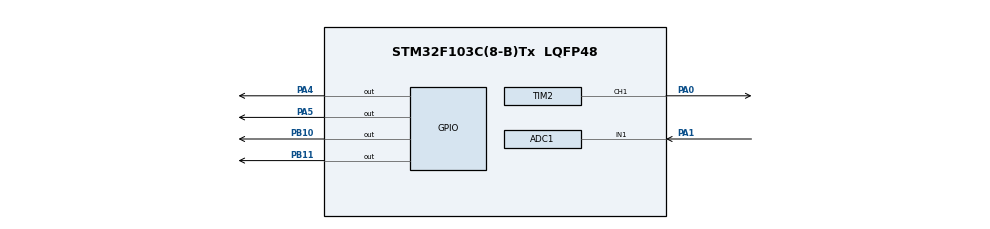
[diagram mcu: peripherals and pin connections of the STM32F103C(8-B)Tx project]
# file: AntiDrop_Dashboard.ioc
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ADC1.Channel-0\#ChannelRegularConversion=ADC_CHANNEL_1
ADC1.ContinuousConvMode=ENABLE
ADC1.NbrOfConversionFlag=1
ADC1.Rank-0\#ChannelRegularConversion=1
ADC1.SamplingTime-0\#ChannelRegularConversion=ADC_SAMPLETIME_1CYCLE_5
ADC1.master=1
Mcu.Family=STM32F1
Mcu.Name=STM32F103C(8-B)Tx
Mcu.Package=LQFP48
NVIC.PriorityGroup=NVIC_PRIORITYGROUP_4
PA0-WKUP.Signal=S_TIM2_CH1_ETR
PA1.Signal=ADCx_IN1
PA13.Mode=Serial_Wire
PA13.Signal=SYS_JTMS-SWDIO
PA14.Mode=Serial_Wire
PA14.Signal=SYS_JTCK-SWCLK
PA4.Signal=GPIO_Output
PA5.Signal=GPIO_Output
PB10.GPIO_ModeDefaultOutputPP=GPIO_MODE_OUTPUT_OD
PB10.GPIO_PuPd=GPIO_PULLUP
PB10.GPIO_Speed=GPIO_SPEED_FREQ_HIGH
PB10.Signal=GPIO_Output
PB11.GPIO_ModeDefaultOutputPP=GPIO_MODE_OUTPUT_OD
PB11.GPIO_PuPd=GPIO_PULLUP
PB11.GPIO_Speed=GPIO_SPEED_FREQ_HIGH
PB11.Signal=GPIO_Output
ProjectManager.HeapSize=0x200
ProjectManager.StackSize=0x400
ProjectManager.TargetToolchain=MDK-ARM V5.32
RCC.APB1Freq_Value=8000000
RCC.APB2Freq_Value=8000000
SH.ADCx_IN1.0=ADC1_IN1,IN1
SH.S_TIM2_CH1_ETR.0=TIM2_CH1,PWM Generation1 CH1
TIM2.AutoReloadPreload=TIM_AUTORELOAD_PRELOAD_ENABLE
TIM2.Channel-PWM\ Generation1\ CH1=TIM_CHANNEL_1
TIM2.Period=99
TIM2.Prescaler=71
board=custom

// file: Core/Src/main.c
/* USER CODE BEGIN Header */
/**
  ******************************************************************************
  * @file           : main.c
  * @brief          : Main program body
  ******************************************************************************
  * @attention
  *
  * Copyright (c) 2026 STMicroelectronics.
  * All rights reserved.
  *
  * This software is licensed under terms that can be found in the LICENSE file
  * in the root directory of this software component.
  * If no LICENSE file comes with this software, it is provided AS-IS.
  *
  ******************************************************************************
  */
/* USER CODE END Header */
#include "main.h"

/* USER CODE BEGIN Includes */

#include "motor.h"

/* USER CODE END Includes */

ADC_HandleTypeDef hadc1;

TIM_HandleTypeDef htim2;

void SystemClock_Config(void);
static void MX_GPIO_Init(void);
static void MX_ADC1_Init(void);
static void MX_TIM2_Init(void);

int main(void)
{

  /* MCU Configuration--------------------------------------------------------*/

  /* Reset of all peripherals, Initializes the Flash interface and the Systick. */
  HAL_Init();

  /* Configure the system clock */
  SystemClock_Config();

  /* Initialize all configured peripherals */
  MX_GPIO_Init();
  MX_ADC1_Init();
  MX_TIM2_Init();
  /* USER CODE BEGIN 2 */

  Motor_Init();//初始化电�?

  /* USER CODE END 2 */

  /* Infinite loop */
  /* USER CODE BEGIN WHILE */

  uint32_t last_tick = 0;
  uint8_t state = 0;

  while (1)
  {
    //�?2000ms读一次ADC
    if(HAL_GetTick() - last_tick >= 2000)
    {
      last_tick = HAL_GetTick();
      state++;
      if(state > 3)
      {
        state = 0;
      }
      switch(state)
      {
        case 0://正转
          Motor_SetSpeed(0);
          break;
        case 1://停止
          Motor_SetSpeed(500);
          break;
        case 2://反转
          Motor_SetSpeed(-500);
          break;
        case 3://停止
          Motor_SetSpeed(0);
          break;
      }

    }

    /* USER CODE END WHILE */

  }
}

void SystemClock_Config(void)
{
  RCC_OscInitTypeDef RCC_OscInitStruct = {0};
  RCC_ClkInitTypeDef RCC_ClkInitStruct = {0};
  RCC_PeriphCLKInitTypeDef PeriphClkInit = {0};

  /** Initializes the RCC Oscillators according to the specified parameters
  * in the RCC_OscInitTypeDef structure.
  */
  RCC_OscInitStruct.OscillatorType = RCC_OSCILLATORTYPE_HSI;
  RCC_OscInitStruct.HSIState = RCC_HSI_ON;
  RCC_OscInitStruct.HSICalibrationValue = RCC_HSICALIBRATION_DEFAULT;
  RCC_OscInitStruct.PLL.PLLState = RCC_PLL_NONE;
  if (HAL_RCC_OscConfig(&RCC_OscInitStruct) != HAL_OK)
  {
    Error_Handler();
  }

  /** Initializes the CPU, AHB and APB buses clocks
  */
  RCC_ClkInitStruct.ClockType = RCC_CLOCKTYPE_HCLK|RCC_CLOCKTYPE_SYSCLK
                              |RCC_CLOCKTYPE_PCLK1|RCC_CLOCKTYPE_PCLK2;
  RCC_ClkInitStruct.SYSCLKSource = RCC_SYSCLKSOURCE_HSI;
  RCC_ClkInitStruct.AHBCLKDivider = RCC_SYSCLK_DIV1;
  RCC_ClkInitStruct.APB1CLKDivider = RCC_HCLK_DIV1;
  RCC_ClkInitStruct.APB2CLKDivider = RCC_HCLK_DIV1;

  if (HAL_RCC_ClockConfig(&RCC_ClkInitStruct, FLASH_LATENCY_0) != HAL_OK)
  {
    Error_Handler();
  }
  PeriphClkInit.PeriphClockSelection = RCC_PERIPHCLK_ADC;
  PeriphClkInit.AdcClockSelection = RCC_ADCPCLK2_DIV2;
  if (HAL_RCCEx_PeriphCLKConfig(&PeriphClkInit) != HAL_OK)
  {
    Error_Handler();
  }
}

static void MX_ADC1_Init(void)
{

  ADC_ChannelConfTypeDef sConfig = {0};

  /** Common config
  */
  hadc1.Instance = ADC1;
  hadc1.Init.ScanConvMode = ADC_SCAN_DISABLE;
  hadc1.Init.ContinuousConvMode = ENABLE;
  hadc1.Init.DiscontinuousConvMode = DISABLE;
  hadc1.Init.ExternalTrigConv = ADC_SOFTWARE_START;
  hadc1.Init.DataAlign = ADC_DATAALIGN_RIGHT;
  hadc1.Init.NbrOfConversion = 1;
  if (HAL_ADC_Init(&hadc1) != HAL_OK)
  {
    Error_Handler();
  }

  /** Configure Regular Channel
  */
  sConfig.Channel = ADC_CHANNEL_1;
  sConfig.Rank = ADC_REGULAR_RANK_1;
  sConfig.SamplingTime = ADC_SAMPLETIME_1CYCLE_5;
  if (HAL_ADC_ConfigChannel(&hadc1, &sConfig) != HAL_OK)
  {
    Error_Handler();
  }

}

static void MX_TIM2_Init(void)
{

  TIM_MasterConfigTypeDef sMasterConfig = {0};
  TIM_OC_InitTypeDef sConfigOC = {0};

  htim2.Instance = TIM2;
  htim2.Init.Prescaler = 71;
  htim2.Init.CounterMode = TIM_COUNTERMODE_UP;
  htim2.Init.Period = 99;
  htim2.Init.ClockDivision = TIM_CLOCKDIVISION_DIV1;
  htim2.Init.AutoReloadPreload = TIM_AUTORELOAD_PRELOAD_ENABLE;
  if (HAL_TIM_PWM_Init(&htim2) != HAL_OK)
  {
    Error_Handler();
  }
  sMasterConfig.MasterOutputTrigger = TIM_TRGO_RESET;
  sMasterConfig.MasterSlaveMode = TIM_MASTERSLAVEMODE_DISABLE;
  if (HAL_TIMEx_MasterConfigSynchronization(&htim2, &sMasterConfig) != HAL_OK)
  {
    Error_Handler();
  }
  sConfigOC.OCMode = TIM_OCMODE_PWM1;
  sConfigOC.Pulse = 0;
  sConfigOC.OCPolarity = TIM_OCPOLARITY_HIGH;
  sConfigOC.OCFastMode = TIM_OCFAST_DISABLE;
  if (HAL_TIM_PWM_ConfigChannel(&htim2, &sConfigOC, TIM_CHANNEL_1) != HAL_OK)
  {
    Error_Handler();
  }
  HAL_TIM_MspPostInit(&htim2);

}

static void MX_GPIO_Init(void)
{
  GPIO_InitTypeDef GPIO_InitStruct = {0};

  /* GPIO Ports Clock Enable */
  __HAL_RCC_GPIOA_CLK_ENABLE();
  __HAL_RCC_GPIOB_CLK_ENABLE();

  /*Configure GPIO pin Output Level */
  HAL_GPIO_WritePin(GPIOA, GPIO_PIN_4|GPIO_PIN_5, GPIO_PIN_RESET);

  /*Configure GPIO pin Output Level */
  HAL_GPIO_WritePin(GPIOB, GPIO_PIN_10|GPIO_PIN_11, GPIO_PIN_RESET);

  /*Configure GPIO pins : PA4 PA5 */
  GPIO_InitStruct.Pin = GPIO_PIN_4|GPIO_PIN_5;
  GPIO_InitStruct.Mode = GPIO_MODE_OUTPUT_PP;
  GPIO_InitStruct.Pull = GPIO_NOPULL;
  GPIO_InitStruct.Speed = GPIO_SPEED_FREQ_LOW;
  HAL_GPIO_Init(GPIOA, &GPIO_InitStruct);

  /*Configure GPIO pins : PB10 PB11 */
  GPIO_InitStruct.Pin = GPIO_PIN_10|GPIO_PIN_11;
  GPIO_InitStruct.Mode = GPIO_MODE_OUTPUT_OD;
  GPIO_InitStruct.Pull = GPIO_PULLUP;
  GPIO_InitStruct.Speed = GPIO_SPEED_FREQ_HIGH;
  HAL_GPIO_Init(GPIOB, &GPIO_InitStruct);

}

void Error_Handler(void)
{
  __disable_irq();
  while (1)
  {
  }
}
